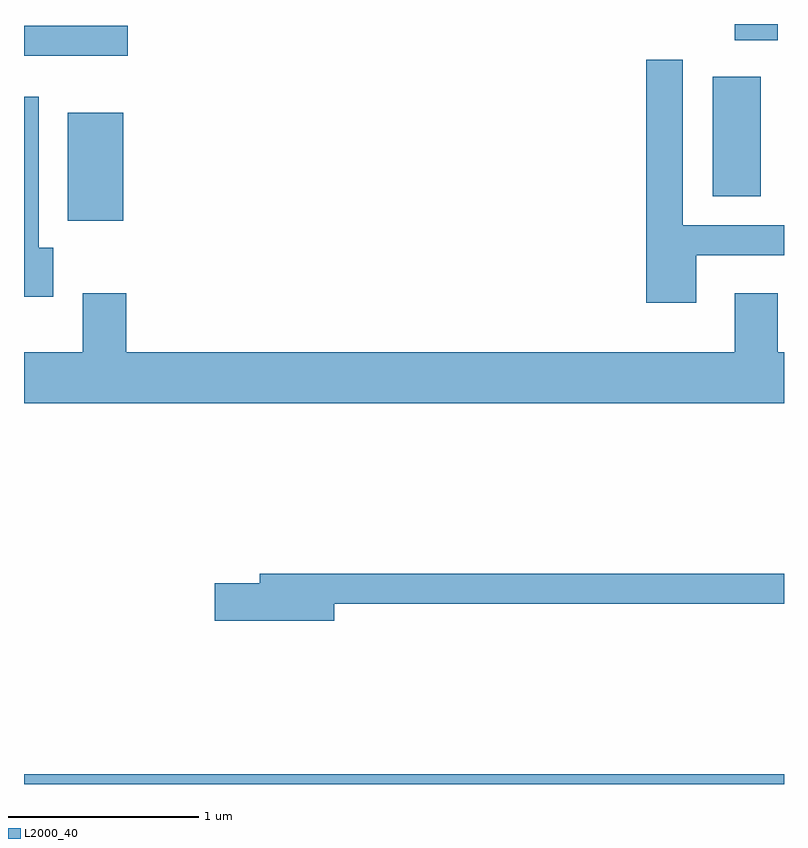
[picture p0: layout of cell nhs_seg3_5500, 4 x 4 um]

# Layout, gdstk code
import gdstk
lib = gdstk.Library(unit=1e-6, precision=1e-09)
def R(c, l, rs):  # rectangles x0, y0, x1, y1
    for r in rs: c.add(gdstk.rectangle(r[:2], r[2:], *l))
def P(c, l, *ps):  # polygons
    for p in ps: c.add(gdstk.Polygon(p, *l))
L2000_40 = (2000, 40)

nhs_seg3_5500 = lib.new_cell('nhs_seg3_5500')
R(nhs_seg3_5500, L2000_40, [(345.611,1243.892,349.611,1243.944), (345.841,1246.856,346.134,1247.424), (349.236,1246.986,349.489,1247.614), (345.611,1247.726,346.158,1247.884), (349.351,1247.806,349.579,1247.892)])
P(nhs_seg3_5500, L2000_40, [(349.149,1246.676),(349.611,1246.676),(349.611,1246.834),(349.079,1246.834),(349.079,1247.704),(348.886,1247.704),(348.886,1246.426),(349.149,1246.426)],
  [(345.764,1246.714),(345.689,1246.714),(345.689,1247.509),(345.611,1247.509),(345.611,1246.456),(345.764,1246.456)],
  [(349.611,1246.164),(349.579,1246.164),(349.579,1246.474),(349.351,1246.474),(349.351,1246.164),(346.149,1246.164),(346.149,1246.474),(345.921,1246.474),(345.921,1246.164),(345.611,1246.164),(345.611,1245.896),(349.611,1245.896)],
  [(347.244,1244.841),(349.611,1244.841),(349.611,1244.999),(346.851,1244.999),(346.851,1244.949),(346.616,1244.949),(346.616,1244.751),(347.244,1244.751)])

lib.write_gds('nhs_seg3_5500.gds')
